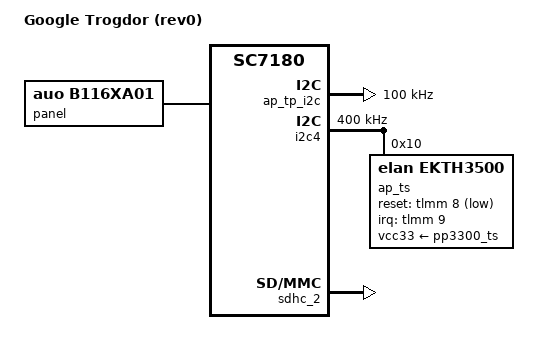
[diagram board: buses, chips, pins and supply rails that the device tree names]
// SPDX-License-Identifier: (GPL-2.0+ OR MIT)
/*
 * Google Trogdor board device tree source
 *
 * Copyright 2019 Google LLC.
 */

/dts-v1/;

#include "sc7180.dtsi"

ap_ec_spi: &spi0 {};
ap_h1_spi: &spi6 {};

#include "sc7180-trogdor.dtsi"

/ {
	model = "Google Trogdor (rev0)";
	compatible = "google,trogdor-rev0-sku0",
		     "google,trogdor-rev0-sku1",
		     "qcom,sc7180";
};

&ap_tp_i2c {
	/* Pullups are missing on r0, but it seems to work at 100 kHz */
	clock-frequency = <100000>;
};

&cr50 {
	interrupts = <21 IRQ_TYPE_EDGE_RISING>;
};

ap_ts_pen_1v8: &i2c4 {
	status = "okay";
	clock-frequency = <400000>;

	ap_ts: touchscreen@10 {
		compatible = "elan,ekth3500";
		reg = <0x10>;
		pinctrl-names = "default";
		pinctrl-0 = <&ts_int_l>, <&ts_reset_l>;

		interrupt-parent = <&tlmm>;
		interrupts = <9 IRQ_TYPE_LEVEL_LOW>;

		vcc33-supply = <&pp3300_ts>;

		reset-gpios = <&tlmm 8 GPIO_ACTIVE_LOW>;
	};
};

&panel {
	compatible = "auo,b116xa01";

	/* HPD is not hooked up */
	/delete-property/hpd-gpios;
	no-hpd;
};

&pp3300_ts {
	gpio = <&tlmm 106 GPIO_ACTIVE_HIGH>;
};

&sdhc_2 {
	status = "okay";
};

&sn65dsi86_bridge {
	enable-gpios = <&tlmm 14 GPIO_ACTIVE_HIGH>;
};

&trackpad {
	interrupts = <58 IRQ_TYPE_EDGE_FALLING>;
};

&usb_hub {
	 vdd-supply = <&pp3300_l7c>;
};

/* PINCTRL - modifications to sc7180-trogdor.dtsi */

&ap_suspend_l_neuter {
	pinmux  {
		pins = "gpio20";
	};

	pinconf {
		pins = "gpio20";
	};
};

&bios_flash_wp_l {
	pinmux  {
		pins = "gpio42";
	};

	pinconf {
		pins = "gpio42";
	};
};

&edp_brij_en {
	pinmux {
		pins = "gpio14";
	};

	pinconf {
		pins = "gpio14";
	};
};

&en_pp3300_dx_edp {
	pinmux {
		pins = "gpio106";
	};

	pinconf {
		pins = "gpio106";
	};
};

&h1_ap_int_odl {
	pinmux {
		pins = "gpio21";
	};

	pinconf {
		pins = "gpio21";
	};
};

&pen_irq_l {
	pinmux {
		pins = "gpio104";
	};

	pinconf {
		pins = "gpio104";
	};
};

&trackpad_int_1v8_odl {
	pinmux {
		pins = "gpio58";
	};

	pinconf {
		pins = "gpio58";
	};
};

/* PINCTRL - board-specific pinctrl */

&pm6150l_gpio {
	gpio-line-names = "AP_SUSPEND_L", /* TODO: Remove if doesn't work */
			  "",
			  "",
			  "",
			  "",
			  "",
			  "",
			  "",
			  "",
			  "",
			  "",
			  "";
};

&qup_uart3_default {
	/* account for swapped Bluetooth TX/RX and RTS/CTS lines */

	pinconf-cts {
		pins = "gpio39";
	};

	pinconf-rts-tx {
		pins = "gpio38", "gpio41";
	};

	pinconf-rx {
		pins = "gpio40";
	};
};

&tlmm {
	gpio-line-names = "ESIM_MISO",
			  "ESIM_MOSI",
			  "ESIM_CLK",
			  "ESIM_CS_L",
			  "FP_TO_AP_IRQ_L",
			  "FP_RST_L",
			  "AP_TP_I2C_SDA",
			  "AP_TP_I2C_SCL",
			  "TS_RESET_L",
			  "TS_INT_L",
			  "FPMCU_BOOT0",
			  "EDP_BRIJ_IRQ",
			  "AP_EDP_BKLTEN",
			  "",
			  "EDP_BRIJ_EN",
			  "EDP_BRIJ_I2C_SDA",
			  "EDP_BRIJ_I2C_SCL",
			  "HUB_RST_L",
			  "PEN_RST_ODL",
			  "AP_RST_REQ",
			  "AP_SUSPEND_L",
			  "H1_AP_INT_ODL",
			  "FPMCU_SEL_OD",
			  "AMP_EN",
			  "",
			  "AP_SAR_SENSOR_SCL",
			  "AP_SAR_SENSOR_SDA",
			  "AP_SKU_ID2",
			  "HP_IRQ",
			  "AP_RAM_ID0",
			  "",
			  "AP_BRD_ID2",
			  "BRIJ_SUSPEND",
			  "AP_BRD_ID0",
			  "AP_EC_SPI_MISO",
			  "AP_EC_SPI_MOSI",
			  "AP_EC_SPI_CLK",
			  "AP_EC_SPI_CS_L",
			  "BT_UART_CTS",
			  "BT_UART_RTS",
			  "BT_UART_TXD",
			  "BT_UART_RXD",
			  /*
			   * AP_FLASH_WP_L is crossystem ABI. Schematics
			   * call it BIOS_FLASH_WP_L.
			   */
			  "AP_FLASH_WP_L",
			  "P_SENSOR_INT_L",
			  "UART_AP_TX_DBG_RX",
			  "UART_DBG_TX_AP_RX",
			  "HP_I2C_SDA",
			  "HP_I2C_SCL",
			  "FORCED_USB_BOOT",
			  "AMP_BCLK",
			  "AMP_LRCLK",
			  "AMP_DIN",
			  "PEN_PDCT_L",
			  "HP_BCLK",
			  "HP_LRCLK",
			  "HP_DOUT",
			  "HP_DIN",
			  "HP_MCLK",
			  "TRACKPAD_INT_1V8_ODL",
			  "AP_H1_SPI_MISO",
			  "AP_H1_SPI_MOSI",
			  "AP_H1_SPI_CLK",
			  "AP_H1_SPI_CS_L",
			  "AP_SPI_CLK",
			  "AP_SPI_MOSI",
			  "AP_SPI_MISO",
			  "",
			  "",
			  "AP_SPI_CS0_L",
			  "SD_CD_OD",
			  "RFFE6_CLK",
			  "RFFE6_DATA",
			  "",
			  "WLAN_SW_CTRL",
			  "BOOT_CONFIG_0",
			  "UIM2_DATA",
			  "UIM2_CLK",
			  "UIM2_RST",
			  "UIM2_PRESENT",
			  "UIM1_DATA",
			  "UIM1_CLK",
			  "UIM1_RST",
			  "",
			  "EN_PP3300_CODEC",
			  "EN_PP3300_HUB",
			  "WMSS_RESET_L",
			  "AP_SPI_FP_MISO",
			  "AP_SPI_FP_MOSI",
			  "AP_SPI_FP_CLK",
			  "AP_SPI_FP_CS_L",
			  "AP_SKU_ID1",
			  "AP_RAM_ID1",
			  "RFFE4_CLK",
			  "AP_BRD_ID1",
			  "AP_EC_INT_L",
			  "SDM_GRFC_3/BOOT_CONFIG_1",
			  "QLINK_REQ",
			  "QLINK_EN",
			  "SDM_GRFC_2/BOOT_CONFIG_4",
			  "PA_INDICATOR/BOOT_CONFIG_2",
			  "SDM_GRFC_1",
			  "RFFE3_DATA",
			  "RFFE3_CLK",
			  "RFFE4_DATA",
			  "PEN_IRQ_L",
			  "AP_SKU_ID0",
			  "EN_PP3300_DX_EDP",
			  "SDM_GRFC_5/BOOT_CONFIG_3",
			  "WCI2_LTE_COEX_TXD",
			  "WCI2_LTE_COEX_RXD",
			  "RFFE2_DATA",
			  "RFFE2_CLK",
			  "RFFE1_DATA",
			  "RFFE1_CLK",
			  "FORCED_USB_BOOT_POL",
			  "AP_TS_PEN_I2C_SDA",
			  "AP_TS_PEN_I2C_SCL",
			  "DP_HOT_PLUG_DET",
			  "EC_IN_RW_ODL";
};

&uart3 {
	cts-rts-swap;
	rx-tx-swap;
};
